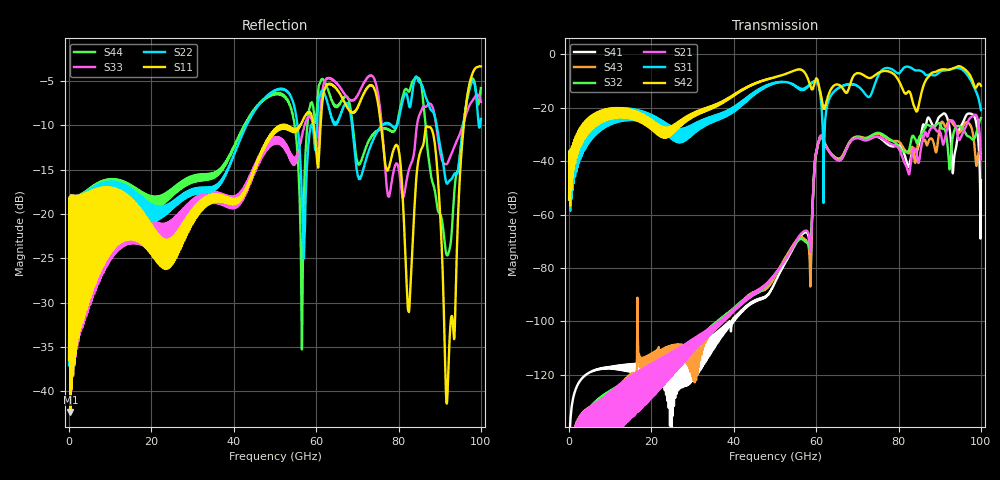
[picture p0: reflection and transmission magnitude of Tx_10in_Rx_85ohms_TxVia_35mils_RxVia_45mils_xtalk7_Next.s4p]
! Info: Touchstone file created by Circ.  Input file=Tx_10in_Rx_85ohms_TxVia_35mils_RxVia_45mils.circ
# Hz S RI R 50
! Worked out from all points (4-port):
!   10000 points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, 10 MHz to 100 GHz, reference 50 ohm
!   strongest paths, dB at 10 MHz, 25.01 GHz, 50.01 GHz, 75.01 GHz, 100 GHz:
!     S42: -54.3, -29.8, -8.5, -7.0, -11.7
!     S31: -54.4, -31.2, -10.7, -8.1, -20.8
!     S21: -175.4, -113.2, -82.5, -30.8, -39.3
!     S32: -180.0, -114.9, -82.5, -29.4, -23.8
!     S43: -174.9, -111.2, -83.0, -29.7, -37.0
!     S41: -162.1, -111.5, -85.2, -31.0, -47.2
!   lowest |S11| = -42.3 dB at 320 MHz (marker M1), VSWR 1.02, Z = 49.3 - j0.346 ohm
!   |S11| at or under -10 dB: start of sweep to 51.4 GHz; 53.01 GHz to 56.09 GHz (3.074 GHz wide, 5.64 % of centre); 75.75 GHz to 95.85 GHz (20.1 GHz wide, 23.4 % of centre) (the widest 3 of 9)
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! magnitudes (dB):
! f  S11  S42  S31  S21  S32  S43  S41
! 10 MHz  -36.5  -54.3  -54.4  -175.4  -180.0  -174.9  -162.1
! 320 MHz  -42.3  -43.1  -43.1  -150.6  -154.9  -150.4  -137.0
! 51.45 GHz  -10.0  -7.9  -10.3  -79.2  -79.2  -79.0  -81.0
! 58.39 GHz  -8.5  -10.8  -11.3  -69.3  -72.7  -75.6  -71.2
! 61.1 GHz  -9.8  -14.7  -16.5  -30.4  -30.4  -30.7  -30.7
! 91.76 GHz  -41.3  -5.7  -5.9  -28.0  -32.1  -26.2  -23.5
! 100 GHz  -3.3  -11.7  -20.8  -39.3  -23.8  -37.0  -47.2
